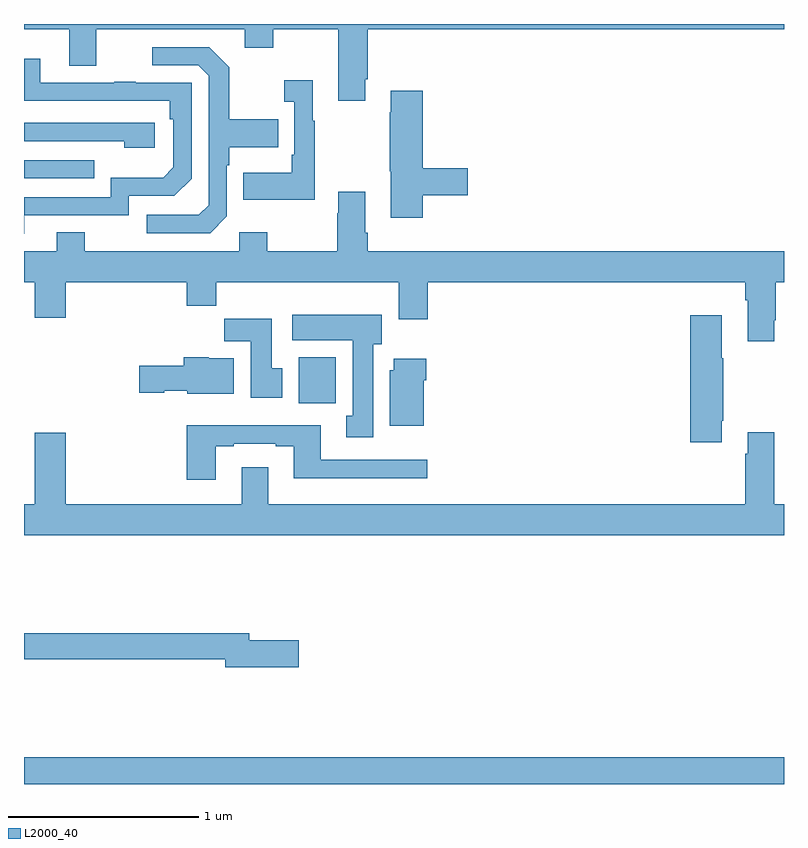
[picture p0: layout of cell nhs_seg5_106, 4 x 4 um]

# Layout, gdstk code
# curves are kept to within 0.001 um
import gdstk
lib = gdstk.Library(unit=1e-6, precision=1e-09)
def R(c, l, rs):  # rectangles x0, y0, x1, y1
    for r in rs: c.add(gdstk.rectangle(r[:2], r[2:], *l))
def P(c, l, *ps):  # polygons
    for p in ps: c.add(gdstk.Polygon(p, *l))
L2000_40 = (2000, 40)

nhs_seg5_106 = lib.new_cell('nhs_seg5_106')
R(nhs_seg5_106, L2000_40, [(117,840.799,121,840.94), (118.445,842.804,118.642,843.046), (117,843.987,117.371,844.083)])
P(nhs_seg5_106, L2000_40, [(118.795,844.507),(118.808,844.507),(118.808,844.772),(121,844.772),(121,844.799),(117,844.799),(117,844.772),(117.239,844.772),(117.239,844.578),(117.379,844.578),(117.379,844.772),(118.163,844.772),(118.163,844.673),(118.311,844.673),(118.311,844.772),(118.655,844.772),(118.655,844.395),(118.795,844.395)],
  [(118.068,843.786),(118.068,844.055),(118.081,844.055),(118.081,844.151),(118.337,844.151),(118.337,844.299),(118.081,844.299),(118.081,844.571),(117.975,844.677),(117.675,844.677),(117.675,844.581),(117.918,844.581),(117.972,844.527),(117.972,843.846),(117.921,843.795),(117.645,843.795),(117.645,843.699),(117.981,843.699)],
  [(117.001,843.792),(117.552,843.792),(117.552,843.894),(117.792,843.894),(117.882,843.984),(117.882,844.491),(117.587,844.491),(117.587,844.496),(117.475,844.496),(117.475,844.491),(117.085,844.491),(117.085,844.615),(117,844.615),(117,844.396),(117.766,844.395),(117.766,844.298),(117.786,844.298),(117.786,844.044),(117.733,843.991),(117.456,843.991),(117.456,843.888),(117,843.888),(117,843.696)],
  [(118.531,844.291),(118.519,844.291),(118.519,844.504),(118.371,844.504),(118.371,844.391),(118.422,844.391),(118.422,844.111),(118.41,844.111),(118.41,844.015),(118.153,844.015),(118.153,843.875),(118.531,843.875)],
  [(119.099,843.898),(119.335,843.898),(119.335,844.04),(119.099,844.04),(119.099,844.447),(118.931,844.447),(118.931,844.334),(118.924,844.334),(118.924,844.023),(118.931,844.023),(118.931,843.78),(119.099,843.78)],
  [(117.688,844.278),(117,844.278),(117,844.182),(117.527,844.182),(117.527,844.148),(117.688,844.148)],
  [(120.949,843.241),(120.957,843.241),(120.957,843.44),(121,843.44),(121,843.604),(118.808,843.604),(118.808,843.7),(118.795,843.7),(118.795,843.916),(118.655,843.916),(118.655,843.803),(118.648,843.803),(118.648,843.604),(118.281,843.604),(118.281,843.703),(118.134,843.703),(118.134,843.604),(117.321,843.604),(117.321,843.703),(117.173,843.703),(117.173,843.604),(117,843.604),(117,843.44),(117.056,843.44),(117.056,843.252),(117.22,843.252),(117.22,843.44),(117.857,843.44),(117.857,843.316),(118.013,843.316),(118.013,843.44),(118.973,843.44),(118.973,843.246),(119.126,843.246),(119.126,843.44),(120.797,843.44),(120.797,843.344),(120.809,843.344),(120.809,843.129),(120.949,843.129)],
  [(118.837,843.114),(118.882,843.114),(118.882,843.268),(118.413,843.268),(118.413,843.134),(118.73,843.134),(118.73,842.738),(118.697,842.738),(118.697,842.625),(118.837,842.625)],
  [(120.673,842.71),(120.681,842.71),(120.681,843.041),(120.673,843.041),(120.673,843.265),(120.506,843.265),(120.506,842.598),(120.673,842.598)],
  [(118.36,842.988),(118.303,842.988),(118.303,843.247),(118.054,843.247),(118.054,843.128),(118.193,843.128),(118.193,842.832),(118.36,842.832)],
  [(118.105,843.04),(117.972,843.04),(117.972,843.046),(117.842,843.046),(117.842,843),(117.606,843),(117.606,842.858),(117.738,842.858),(117.738,842.87),(117.858,842.87),(117.858,842.852),(118.105,842.852)],
  [(119.104,842.924),(119.117,842.924),(119.117,843.037),(118.946,843.037),(118.946,842.976),(118.925,842.976),(118.925,842.684),(119.104,842.684)],
  [(118.009,842.577),(118.105,842.577),(118.105,842.589),(118.325,842.589),(118.325,842.577),(118.421,842.577),(118.421,842.408),(119.122,842.408),(119.122,842.505),(118.561,842.505),(118.561,842.686),(117.857,842.686),(117.857,842.4),(118.009,842.4)],
  [(121,842.272),(120.949,842.272),(120.949,842.65),(120.809,842.65),(120.809,842.537),(120.797,842.537),(120.797,842.272),(118.285,842.272),(118.285,842.467),(118.145,842.467),(118.145,842.272),(117.22,842.272),(117.22,842.647),(117.056,842.647),(117.056,842.272),(117,842.272),(117,842.108),(121,842.108)],
  [(118.447,841.556),(118.186,841.556),(118.186,841.592),(117,841.592),(117,841.456),(118.058,841.456),(118.058,841.414),(118.447,841.414)])

lib.write_gds('nhs_seg5_106.gds')
